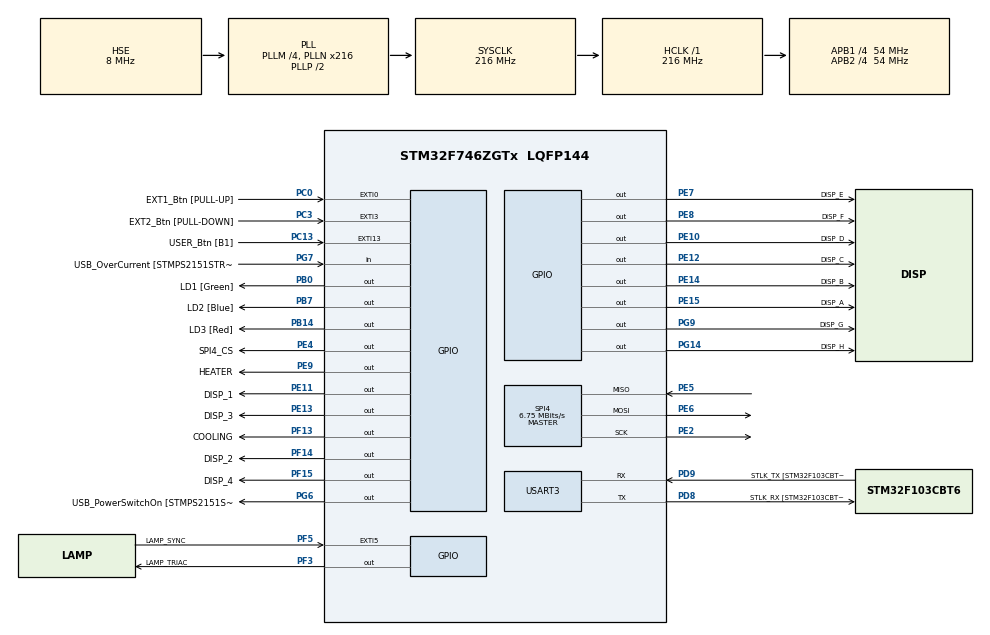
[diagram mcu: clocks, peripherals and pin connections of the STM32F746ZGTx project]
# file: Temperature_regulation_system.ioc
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Mcu.Family=STM32F7
Mcu.Name=STM32F746ZGTx
Mcu.Package=LQFP144
NVIC.EXTI0_IRQn=true\:0\:0\:false\:false\:true\:true\:true\:true
NVIC.EXTI15_10_IRQn=true\:0\:0\:false\:false\:true\:true\:true\:true
NVIC.EXTI3_IRQn=true\:0\:0\:false\:false\:true\:true\:true\:true
NVIC.EXTI9_5_IRQn=true\:0\:0\:false\:false\:true\:true\:true\:true
NVIC.PriorityGroup=NVIC_PRIORITYGROUP_4
NVIC.SPI4_IRQn=true\:0\:0\:false\:false\:true\:true\:true\:true
NVIC.TIM2_IRQn=true\:0\:0\:false\:false\:true\:true\:true\:true
NVIC.TIM5_IRQn=true\:0\:0\:false\:false\:true\:true\:true\:true
NVIC.USART3_IRQn=true\:0\:0\:false\:false\:true\:true\:true\:true
PA1.GPIO_Label=RMII_REF_CLK [LAN8742A-CZ-TR_REFCLK0]
PA1.Signal=ETH_REF_CLK
PA10.GPIO_Label=USB_ID
PA10.Signal=USB_OTG_FS_ID
PA11.GPIO_Label=USB_DM
PA11.Signal=USB_OTG_FS_DM
PA12.GPIO_Label=USB_DP
PA12.Signal=USB_OTG_FS_DP
PA13.GPIO_Label=TMS
PA13.Mode=Serial_Wire
PA13.Signal=SYS_JTMS-SWDIO
PA14.GPIO_Label=TCK
PA14.Mode=Serial_Wire
PA14.Signal=SYS_JTCK-SWCLK
PA2.GPIO_Label=RMII_MDIO [LAN8742A-CZ-TR_MDIO]
PA2.Signal=ETH_MDIO
PA3.GPIO_Label=LD4 [PWM]
PA3.Signal=S_TIM5_CH4
PA4.Signal=COMP_DAC1_group
PA5.GPIO_Label=LED_RGB_R [Red channel]
PA5.Signal=S_TIM2_CH1_ETR
PA6.GPIO_Label=ENC_CLK
PA6.Signal=S_TIM3_CH1
PA7.GPIO_Label=RMII_CRS_DV [LAN8742A-CZ-TR_CRS_DV]
PA7.Signal=ETH_CRS_DV
PA8.GPIO_Label=USB_SOF [TP1]
PA8.Signal=USB_OTG_FS_SOF
PA9.GPIO_Label=USB_VBUS
PA9.Signal=USB_OTG_FS_VBUS
PB0.GPIO_Label=LD1 [Green]
PB0.Signal=GPIO_Output
PB1.GPIO_Label=POTENTIOMETER1
PB1.Signal=ADCx_IN9
PB10.GPIO_Label=LED_RGB_G [Green channel]
PB10.Signal=S_TIM2_CH3
PB11.GPIO_Label=LED_RGB_B [Blue channel]
PB11.Signal=S_TIM2_CH4
PB13.GPIO_Label=RMII_TXD1 [LAN8742A-CZ-TR_TXD1]
PB13.Signal=ETH_TXD1
PB14.GPIO_Label=LD3 [Red]
PB14.Signal=GPIO_Output
PB3.GPIO_Label=SW0
PB3.Signal=SYS_JTDO-SWO
PB7.GPIO_Label=LD2 [Blue]
PB7.Signal=GPIO_Output
PC0.GPIO_Label=EXT1_Btn [PULL-UP]
PC0.GPIO_ModeDefaultEXTI=GPIO_MODE_IT_FALLING
PC0.GPIO_PuPd=GPIO_PULLUP
PC0.Signal=GPXTI0
PC1.GPIO_Label=RMII_MDC [LAN8742A-CZ-TR_MDC]
PC1.Signal=ETH_MDC
PC13.GPIO_Label=USER_Btn [B1]
PC13.GPIO_ModeDefaultEXTI=GPIO_MODE_IT_RISING
PC13.Signal=GPXTI13
PC14/OSC32_IN.Mode=LSE-External-Oscillator
PC14/OSC32_IN.Signal=RCC_OSC32_IN
PC15/OSC32_OUT.Mode=LSE-External-Oscillator
PC15/OSC32_OUT.Signal=RCC_OSC32_OUT
PC3.GPIO_Label=EXT2_Btn [PULL-DOWN]
PC3.GPIO_PuPd=GPIO_PULLDOWN
PC3.Signal=GPXTI3
PC4.GPIO_Label=RMII_RXD0 [LAN8742A-CZ-TR_RXD0]
PC4.Signal=ETH_RXD0
PC5.GPIO_Label=RMII_RXD1 [LAN8742A-CZ-TR_RXD1]
PC5.Signal=ETH_RXD1
PC7.GPIO_Label=ENC_DT
PC7.Signal=S_TIM3_CH2
PD13.GPIO_Label=HEATER
PD13.Signal=S_TIM4_CH2
PD8.GPIO_Label=STLK_RX [STM32F103CBT6_PA3]
PD8.Mode=Asynchronous
PD8.Signal=USART3_TX
PD9.GPIO_Label=STLK_TX [STM32F103CBT6_PA2]
PD9.Mode=Asynchronous
PD9.Signal=USART3_RX
PE10.GPIO_Label=DISP_D
PE10.GPIO_ModeDefaultOutputPP=GPIO_MODE_OUTPUT_OD
PE10.GPIO_PuPd=GPIO_PULLUP
PE10.Signal=GPIO_Output
PE11.GPIO_Label=DISP_1
PE11.Signal=GPIO_Output
PE12.GPIO_Label=DISP_C
PE12.GPIO_ModeDefaultOutputPP=GPIO_MODE_OUTPUT_OD
PE12.GPIO_PuPd=GPIO_PULLUP
PE12.Signal=GPIO_Output
PE13.GPIO_Label=DISP_3
PE13.Signal=GPIO_Output
PE14.GPIO_Label=DISP_B
PE14.GPIO_ModeDefaultOutputPP=GPIO_MODE_OUTPUT_OD
PE14.GPIO_PuPd=GPIO_PULLUP
PE14.Signal=GPIO_Output
PE15.GPIO_Label=DISP_A
PE15.GPIO_ModeDefaultOutputPP=GPIO_MODE_OUTPUT_OD
PE15.GPIO_PuPd=GPIO_PULLUP
PE15.Signal=GPIO_Output
PE2.Mode=Full_Duplex_Master
PE2.Signal=SPI4_SCK
PE4.GPIO_Label=SPI4_CS
PE4.Signal=GPIO_Output
PE5.Mode=Full_Duplex_Master
PE5.Signal=SPI4_MISO
PE6.Mode=Full_Duplex_Master
PE6.Signal=SPI4_MOSI
PE7.GPIO_Label=DISP_E
PE7.GPIO_ModeDefaultOutputPP=GPIO_MODE_OUTPUT_OD
PE7.GPIO_PuPd=GPIO_PULLUP
PE7.Signal=GPIO_Output
PE8.GPIO_Label=DISP_F
PE8.GPIO_ModeDefaultOutputPP=GPIO_MODE_OUTPUT_OD
PE8.GPIO_PuPd=GPIO_PULLUP
PE8.Signal=GPIO_Output
PE9.GPIO_Label=HEATER
PE9.GPIO_Speed=GPIO_SPEED_FREQ_VERY_HIGH
PE9.PinState=GPIO_PIN_SET
PE9.Signal=GPIO_Output
PF13.GPIO_Label=COOLING
PF13.Signal=GPIO_Output
PF14.GPIO_Label=DISP_2
PF14.Signal=GPIO_Output
PF15.GPIO_Label=DISP_4
PF15.Signal=GPIO_Output
PF3.GPIO_Label=LAMP_TRIAC
PF3.GPIO_Speed=GPIO_SPEED_FREQ_HIGH
PF3.Signal=GPIO_Output
PF5.GPIO_Label=LAMP_SYNC
PF5.Signal=GPXTI5
PG11.GPIO_Label=RMII_TX_EN [LAN8742A-CZ-TR_TXEN]
PG11.Signal=ETH_TX_EN
PG13.GPIO_Label=RMII_TXD0 [LAN8742A-CZ-TR_TXD0]
PG13.Signal=ETH_TXD0
PG14.GPIO_Label=DISP_H
PG14.GPIO_ModeDefaultOutputPP=GPIO_MODE_OUTPUT_OD
PG14.GPIO_PuPd=GPIO_PULLUP
PG14.Signal=GPIO_Output
PG6.GPIO_Label=USB_PowerSwitchOn [STMPS2151STR_EN]
PG6.Signal=GPIO_Output
PG7.GPIO_Label=USB_OverCurrent [STMPS2151STR_FAULT]
PG7.Signal=GPIO_Input
PG9.GPIO_Label=DISP_G
PG9.GPIO_ModeDefaultOutputPP=GPIO_MODE_OUTPUT_OD
PG9.GPIO_PuPd=GPIO_PULLUP
PG9.Signal=GPIO_Output
PH0/OSC_IN.GPIO_Label=MCO [STM32F103CBT6_PA8]
PH0/OSC_IN.Mode=HSE-External-Clock-Source
PH0/OSC_IN.Signal=RCC_OSC_IN
PH1/OSC_OUT.Mode=HSE-External-Clock-Source
PH1/OSC_OUT.Signal=RCC_OSC_OUT
ProjectManager.HeapSize=0x200
ProjectManager.StackSize=0x400
ProjectManager.TargetToolchain=STM32CubeIDE
RCC.48MHZClocksFreq_Value=24000000
RCC.AHBFreq_Value=216000000
RCC.APB1CLKDivider=RCC_HCLK_DIV4
RCC.APB1Freq_Value=54000000
RCC.APB1TimFreq_Value=108000000
RCC.APB2CLKDivider=RCC_HCLK_DIV4
RCC.APB2Freq_Value=54000000
RCC.APB2TimFreq_Value=108000000
RCC.CortexFreq_Value=216000000
RCC.HCLKFreq_Value=216000000
RCC.HSE_VALUE=8000000
RCC.HSI_VALUE=16000000
RCC.PLLM=4
RCC.PLLMUL=RCC_PLL_MUL9
RCC.PLLN=216
RCC.PLLQ=3
RCC.PLLSourceVirtual=RCC_PLLSOURCE_HSE
RCC.PRESCALERUSB=RCC_USBCLKSOURCE_PLL_DIV1_5
RCC.SYSCLKFreq_VALUE=216000000
RCC.SYSCLKSource=RCC_SYSCLKSOURCE_PLLCLK
RCC.SYSCLKSourceVirtual=RCC_SYSCLKSOURCE_PLLCLK
RCC.USART3CLockSelection=RCC_USART3CLKSOURCE_SYSCLK
RCC.USBFreq_Value=144000000
RCC.VCOOutputFreq_Value=432000000
SH.ADCx_IN9.0=ADC1_IN9
SH.COMP_DAC1_group.0=DAC_OUT1
SH.S_TIM2_CH1_ETR.0=TIM2_CH1
SH.S_TIM2_CH3.0=TIM2_CH3
SH.S_TIM2_CH4.0=TIM2_CH4
SH.S_TIM3_CH1.0=TIM3_CH1
SH.S_TIM3_CH2.0=TIM3_CH2
SH.S_TIM4_CH2.0=TIM4_CH2
SH.S_TIM5_CH4.0=TIM5_CH4
SPI4.BaudRatePrescaler=SPI_BAUDRATEPRESCALER_8
SPI4.CLKPhase=SPI_PHASE_2EDGE
SPI4.CLKPolarity=SPI_POLARITY_HIGH
SPI4.CalculateBaudRate=6.75 MBits/s
SPI4.DataSize=SPI_DATASIZE_8BIT
SPI4.Direction=SPI_DIRECTION_2LINES
SPI4.Mode=SPI_MODE_MASTER
SPI4.VirtualType=VM_MASTER
TIM2.Period=499999
TIM2.Prescaler=215
TIM5.Period=9999
TIM5.Prescaler=215
USART3.VirtualMode-Asynchronous=VM_ASYNC
VP_TIM2_VS_ClockSourceINT.Mode=Internal
VP_TIM5_VS_ClockSourceINT.Mode=Internal
board=NUCLEO-F746ZG

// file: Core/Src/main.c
/* USER CODE BEGIN Header */
/**
  ******************************************************************************
  * @file           : main.c
  * @brief          : Main program body
  ******************************************************************************
  * @attention
  *
  * Copyright (c) 2022 STMicroelectronics.
  * All rights reserved.
  *
  * This software is licensed under terms that can be found in the LICENSE file
  * in the root directory of this software component.
  * If no LICENSE file comes with this software, it is provided AS-IS.
  *
  ******************************************************************************
  */
/* USER CODE END Header */
#include "main.h"
#include "spi.h"
#include "tim.h"
#include "usart.h"
#include "gpio.h"

/* USER CODE BEGIN Includes */
#include "bmp2_config.h"
#include "stdio.h"
/* USER CODE END Includes */

/* USER CODE BEGIN PV */

//<! Global variables
float ref = 26.00f;
float temp = 0.0f;
char input_cmd[6];

//<! State of regulator
int is_cooling = 0;
int is_heating = 0;

//<! Parameters
#define MAX_RANGE 60.00f
#define MIN_RANGE 26.00f
#define HEATING_THRESHOLD 0.02f
#define COOLING_THRESHOLD 0.10f

//<! Values based on parameters
#define RANGE (MAX_RANGE - MIN_RANGE)
#define ONE_PERCENT_ACC (RANGE * 0.01f)
#define FIVE_PERCENT_ACC (RANGE * 0.05f)

/* USER CODE END PV */

void SystemClock_Config(void);

/* USER CODE BEGIN 0 */

/**
  * @brief  Regulate object based on measurement from sensor.
  * 		Heating is turned on with high state.
  * 		Cooling is turned on with low state.
  * @param  None
  * @retval None
  */
void toggle_regulation(){
	if(temp < (ref - HEATING_THRESHOLD)){
		HAL_GPIO_WritePin(HEATER_GPIO_Port,HEATER_Pin,1);
		HAL_GPIO_WritePin(COOLING_GPIO_Port,COOLING_Pin,1);
		}else if( temp > (ref + COOLING_THRESHOLD)){
		HAL_GPIO_WritePin(HEATER_GPIO_Port,HEATER_Pin,0);
		HAL_GPIO_WritePin(COOLING_GPIO_Port,COOLING_Pin,0);
		}else{
		HAL_GPIO_WritePin(HEATER_GPIO_Port,HEATER_Pin,0);
		HAL_GPIO_WritePin(COOLING_GPIO_Port,COOLING_Pin,1);
		}
	is_heating = HAL_GPIO_ReadPin(HEATER_GPIO_Port,HEATER_Pin);
	is_cooling = !(HAL_GPIO_ReadPin(COOLING_GPIO_Port,COOLING_Pin));
}

/**
  * @brief  Toggle LD2 if measurement is in 1 percent range from reference value.
  * @param  None
  * @retval None
  */
void check_one_percent_range(){
	if(temp < (ref + ONE_PERCENT_ACC) && temp > (ref - ONE_PERCENT_ACC)){
			HAL_GPIO_WritePin(LD2_GPIO_Port, LD2_Pin,1);
		}else{
			HAL_GPIO_WritePin(LD2_GPIO_Port, LD2_Pin,0);
		}
}

/**
  * @brief  Toggle LD3 if measurement is in 5 percent range from reference value.
  * @param  None
  * @retval None
  */
void check_five_percent_range(){
	if(temp < (ref + FIVE_PERCENT_ACC) && temp > (ref - FIVE_PERCENT_ACC)){
			HAL_GPIO_WritePin(LD3_GPIO_Port, LD3_Pin,1);
		}else{
			HAL_GPIO_WritePin(LD3_GPIO_Port, LD3_Pin,0);
		}
}

/**
  * @brief  Rx Transfer completed callback. Changes reference value through USART command.
  * @param  huart UART handle.
  * @retval None
  */
void HAL_UART_RxCpltCallback(UART_HandleTypeDef* huart)
{
	if(huart->Instance == USART3)
	{
		if(input_cmd[2] == '.' && input_cmd[5] == 'C')
		{
			sscanf (input_cmd,"%fC", &ref);
			if(ref < MIN_RANGE){ref = MIN_RANGE;}
			else if(ref > MAX_RANGE){ref = MAX_RANGE;}
		}
		HAL_UART_Receive_IT(&huart3, (uint8_t*)input_cmd, 6);
	}
}

/**
  * @brief  Display of reference value and regulator state on User button press.
  * @param  specified Pin.
  * @retval None
  */
void HAL_GPIO_EXTI_Callback(uint16_t GPIO_Pin)
{
	if(GPIO_Pin == USER_Btn_Pin)
	{
		uint8_t message[] = "Ref: 00000[degC] Heating: 0 Cooling: 0 \r\n ";
		uint16_t mess_len;
		mess_len = sprintf((char *)message, "Ref: %2.2f degC Heating: %d Cooling: %d \r\n ",
				ref,is_heating,is_cooling);
	    HAL_UART_Transmit(&huart3, message, mess_len, 100);
	}
}

/**
  * @brief  TIM elapsed period callback.
  * 		TIM5 reads sensor value, changes state of regulator,
  * 		shows if current value is in set range of reference value.
  * 		TIM2 sends current measure value through USART.
  * @param  htim TIM handle.
  * @retval None
  */
void HAL_TIM_PeriodElapsedCallback(TIM_HandleTypeDef *htim)
{
  if (htim == &htim5) {
	temp = BMP2_ReadTemperature_degC(&bmp2dev_1);
	toggle_regulation();
	check_one_percent_range();
	check_five_percent_range();

  }else if(htim == &htim2){
	  uint8_t message[] = "Temp: 00000[degC] \r\n ";
	  uint16_t mess_len;
	  mess_len = sprintf((char *)message, "Temp: %2.2f degC \r\n ",
	  				temp);
	  HAL_UART_Transmit(&huart3, message, mess_len, 100);
  }
}

/* USER CODE END 0 */

int main(void)
{

  /* MCU Configuration--------------------------------------------------------*/

  /* Reset of all peripherals, Initializes the Flash interface and the Systick. */
  HAL_Init();

  /* Configure the system clock */
  SystemClock_Config();

  /* Initialize all configured peripherals */
  MX_GPIO_Init();
  MX_USART3_UART_Init();
  MX_TIM5_Init();
  MX_TIM2_Init();
  MX_SPI4_Init();
  /* USER CODE BEGIN 2 */
  HAL_UART_Receive_IT(&huart3, (uint8_t*)input_cmd, 6);

  BMP2_Init(&bmp2dev_1);
  HAL_TIM_Base_Start_IT(&htim5);
  HAL_TIM_Base_Start_IT(&htim2);
  /* USER CODE END 2 */

  /* Infinite loop */
  /* USER CODE BEGIN WHILE */
  HAL_GPIO_WritePin(HEATER_GPIO_Port,HEATER_Pin,0);
  HAL_GPIO_WritePin(COOLING_GPIO_Port,COOLING_Pin,1);
  while (1)
  {

    /* USER CODE END WHILE */

  }
}

void SystemClock_Config(void)
{
  RCC_OscInitTypeDef RCC_OscInitStruct = {0};
  RCC_ClkInitTypeDef RCC_ClkInitStruct = {0};

  /** Configure LSE Drive Capability
  */
  HAL_PWR_EnableBkUpAccess();

  /** Configure the main internal regulator output voltage
  */
  __HAL_RCC_PWR_CLK_ENABLE();
  __HAL_PWR_VOLTAGESCALING_CONFIG(PWR_REGULATOR_VOLTAGE_SCALE1);

  /** Initializes the RCC Oscillators according to the specified parameters
  * in the RCC_OscInitTypeDef structure.
  */
  RCC_OscInitStruct.OscillatorType = RCC_OSCILLATORTYPE_HSE;
  RCC_OscInitStruct.HSEState = RCC_HSE_BYPASS;
  RCC_OscInitStruct.PLL.PLLState = RCC_PLL_ON;
  RCC_OscInitStruct.PLL.PLLSource = RCC_PLLSOURCE_HSE;
  RCC_OscInitStruct.PLL.PLLM = 4;
  RCC_OscInitStruct.PLL.PLLN = 216;
  RCC_OscInitStruct.PLL.PLLP = RCC_PLLP_DIV2;
  RCC_OscInitStruct.PLL.PLLQ = 3;
  if (HAL_RCC_OscConfig(&RCC_OscInitStruct) != HAL_OK)
  {
    Error_Handler();
  }

  /** Activate the Over-Drive mode
  */
  if (HAL_PWREx_EnableOverDrive() != HAL_OK)
  {
    Error_Handler();
  }

  /** Initializes the CPU, AHB and APB buses clocks
  */
  RCC_ClkInitStruct.ClockType = RCC_CLOCKTYPE_HCLK|RCC_CLOCKTYPE_SYSCLK
                              |RCC_CLOCKTYPE_PCLK1|RCC_CLOCKTYPE_PCLK2;
  RCC_ClkInitStruct.SYSCLKSource = RCC_SYSCLKSOURCE_PLLCLK;
  RCC_ClkInitStruct.AHBCLKDivider = RCC_SYSCLK_DIV1;
  RCC_ClkInitStruct.APB1CLKDivider = RCC_HCLK_DIV4;
  RCC_ClkInitStruct.APB2CLKDivider = RCC_HCLK_DIV4;

  if (HAL_RCC_ClockConfig(&RCC_ClkInitStruct, FLASH_LATENCY_7) != HAL_OK)
  {
    Error_Handler();
  }
}

void Error_Handler(void)
{
  __disable_irq();
  while (1)
  {
  }
}
